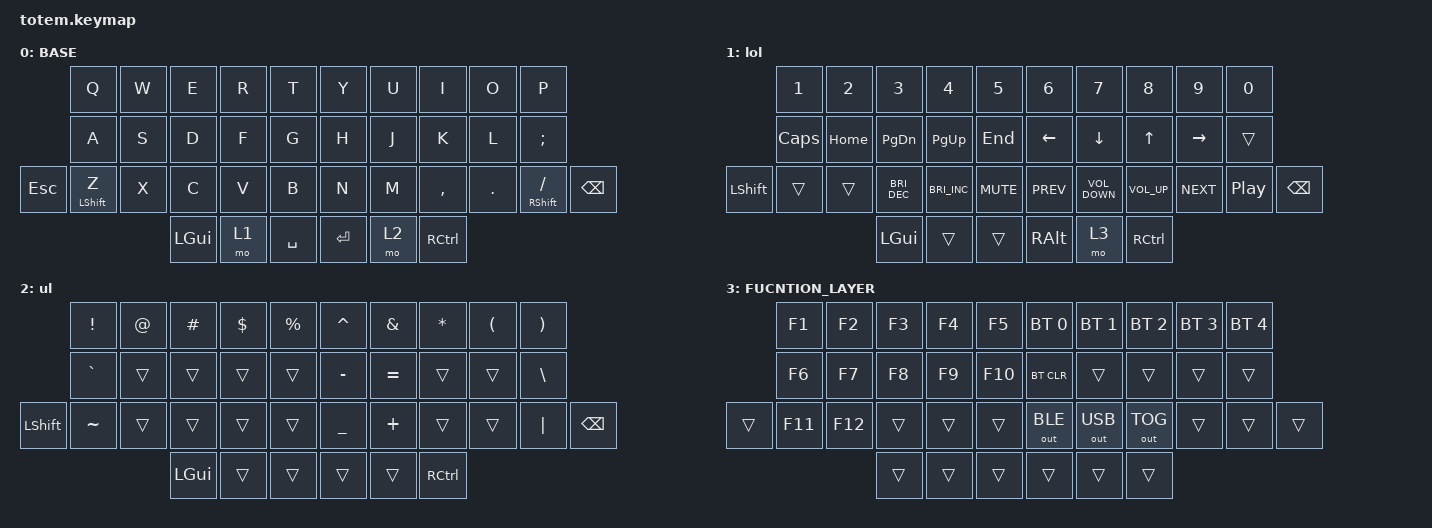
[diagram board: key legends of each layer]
//
//                                                        ▀▀▀▀▀     ▀▀▀▀▀          ▀▀█▀▀
//                                                        ▄▀▀▀▄  ▄  ▄▀▀▀▄  ▄  ▄▀▀▀▄  █  ▄▀▀▀▄
//                                                        █   █  █  █   █  █  █   █  █  █   █
//                                                         ▀▀▀   █   ▀▀▀   █   ▀▀▀   ▀   ▀▀▀
//                                                               █      ▄▄▄█▄▄▄    █   █  
//                                                               ▀      █  █  █     █▄█
//                                                             ▀▀▀▀▀    █  █  █      ▀
//                                                                      ▀  ▀  ▀
//
// ▄▄▄▄▄▄▄▄▄▄▄▄▄▄▄▄▄▄▄▄▄▄▄▄▄▄▄▄▄▄▄▄▄▄▄▄▄▄▄▄▄▄▄▄▄▄▄▄▄▄▄▄▄▄▄▄▄▄▄▄▄▄▄▄▄▄▄▄▄▄▄▄▄▄▄▄▄▄▄▄▄▄▄▄▄▄▄▄▄▄▄▄▄▄▄▄▄▄▄▄▄▄▄▄▄▄▄▄▄▄▄▄▄▄▄▄▄▄▄▄▄▄▄▄▄▄▄▄▄▄▄▄▄▄▄▄▄▄▄▄▄▄▄▄▄▄▄▄▄

#include <behaviors.dtsi>
#include <dt-bindings/zmk/bt.h>
#include <dt-bindings/zmk/keys.h>
#include <dt-bindings/zmk/outputs.h>

#define BASE 0
#define NAV  1
#define SYM  2
#define ADJ  3

/ {
    combos {
        compatible = "zmk,combos";

        left_parenthesis {
            bindings = <&kp LEFT_PARENTHESIS>;
            key-positions = <3 4>;
        };

        right_parenthesis {
            bindings = <&kp RIGHT_PARENTHESIS>;
            key-positions = <5 6>;
        };

        left_brace {
            bindings = <&kp LEFT_BRACE>;
            key-positions = <13 14>;
        };

        right_brace {
            bindings = <&kp RIGHT_BRACE>;
            key-positions = <15 16>;
        };

        left_bracket {
            bindings = <&kp LEFT_BRACKET>;
            key-positions = <24 25>;
        };

        right_bracket {
            bindings = <&kp RIGHT_BRACKET>;
            key-positions = <26 27>;
        };

        quotes {
            bindings = <&kp SQT>;
            key-positions = <18 19>;
        };

        tab {
            bindings = <&kp TAB>;
            key-positions = <11 12>;
        };
    };

    keymap {
        compatible = "zmk,keymap";

        // ▄▄▄▄▄▄▄▄▄▄▄▄▄▄▄▄▄▄▄▄▄▄▄▄▄▄▄▄▄▄▄▄▄▄▄▄▄▄▄▄▄▄▄▄▄▄▄▄▄▄▄▄▄▄▄▄▄▄▄▄▄▄▄▄▄▄▄▄▄▄▄▄▄▄▄▄▄▄▄▄▄▄▄▄▄▄▄▄▄▄▄▄▄▄▄▄▄▄▄▄▄▄▄▄▄▄▄▄▄▄▄▄▄▄▄▄▄▄▄▄▄▄▄▄▄▄▄▄▄▄▄▄▄▄▄▄▄▄▄▄▄▄▄▄▄▄▄▄▄

        base_layer {
            // ┏━━━━━━━━━━━━━━━━━━━━━━━━━━━━━━━━━━━━━━━┓

            label = "BASE";

            // ┗━━━━━━━━━━━━━━━━━━━━━━━━━━━━━━━━━━━━━━━┛
            //             ┏━━━━━━━━━━━┳━━━━━━━━━━━┳━━━━━━━━━━━┳━━━━━━━━━━━┳━━━━━━━━━━━┓   ┏━━━━━━━━━━━┳━━━━━━━━━━━┳━━━━━━━━━━━┳━━━━━━━━━━━┳━━━━━━━━━━━┓
            //             ┃     Q     ┃     W     ┃     F     ┃     P     ┃     G     ┃   ┃     J     ┃     L     ┃     U     ┃     Y     ┃     ;     ┃
            //             ┣━━━━━━━━━━━╋━━━━━━━━━━━╋━━━━━━━━━━━╋━━━━━━━━━━━╋━━━━━━━━━━━┫   ┣━━━━━━━━━━━╋━━━━━━━━━━━╋━━━━━━━━━━━╋━━━━━━━━━━━╋━━━━━━━━━━━┫
            //             ┃     A     ┃     R     ┃     S     ┃     T     ┃     D     ┃   ┃     H     ┃     N     ┃     E     ┃     I     ┃     O     ┃
            // ┏━━━━━━━━━━━╋━━━━━━━━━━━╋━━━━━━━━━━━╋━━━━━━━━━━━╋━━━━━━━━━━━╋━━━━━━━━━━━┫   ┣━━━━━━━━━━━╋━━━━━━━━━━━╋━━━━━━━━━━━╋━━━━━━━━━━━╋━━━━━━━━━━━╋━━━━━━━━━━━┓
            // ┃           ┃     Z     ┃     X     ┃     C     ┃     V     ┃     B     ┃   ┃     K     ┃     M     ┃     ,     ┃     .     ┃     /     ┃           ┃
            // ┗━━━━━━━━━━━┻━━━━━━━━━━━┻━━━━━━━━━━━╋━━━━━━━━━━━╋━━━━━━━━━━━╋━━━━━━━━━━━┫   ┣━━━━━━━━━━━╋━━━━━━━━━━━╋━━━━━━━━━━━╋━━━━━━━━━━━┻━━━━━━━━━━━┻━━━━━━━━━━━┛
            //                                     ┃           ┃    TAB    ┃    SPC    ┃   ┃   ENTER   ┃   BSPC    ┃           ┃
            //                                     ┗━━━━━━━━━━━┻━━━━━━━━━━━┻━━━━━━━━━━━┛   ┗━━━━━━━━━━━┻━━━━━━━━━━━┻━━━━━━━━━━━┛

            bindings = <
            &kp Q             &kp W  &kp E         &kp R  &kp T        &kp Y      &kp U  &kp I              &kp O    &kp P
            &kp A             &kp S  &kp D         &kp F  &kp G        &kp H      &kp J  &kp K              &kp L    &kp SEMICOLON
&kp ESCAPE  &mt LEFT_SHIFT Z  &kp X  &kp C         &kp V  &kp B        &kp N      &kp M  &kp COMMA          &kp DOT  &mt RIGHT_SHIFT SLASH  &kp BACKSPACE
                                     &kp LEFT_GUI  &mo 1  &kp SPACE    &kp ENTER  &mo 2  &kp RIGHT_CONTROL
            >;
        };

        // ▄▄▄▄▄▄▄▄▄▄▄▄▄▄▄▄▄▄▄▄▄▄▄▄▄▄▄▄▄▄▄▄▄▄▄▄▄▄▄▄▄▄▄▄▄▄▄▄▄▄▄▄▄▄▄▄▄▄▄▄▄▄▄▄▄▄▄▄▄▄▄▄▄▄▄▄▄▄▄▄▄▄▄▄▄▄▄▄▄▄▄▄▄▄▄▄▄▄▄▄▄▄▄▄▄▄▄▄▄▄▄▄▄▄▄▄▄▄▄▄▄▄▄▄▄▄▄▄▄▄▄▄▄▄▄▄▄▄▄▄▄▄▄▄▄▄▄▄▄
        // ▄▄▄▄▄▄▄▄▄▄▄▄▄▄▄▄▄▄▄▄▄▄▄▄▄▄▄▄▄▄▄▄▄▄▄▄▄▄▄▄▄▄▄▄▄▄▄▄▄▄▄▄▄▄▄▄▄▄▄▄▄▄▄▄▄▄▄▄▄▄▄▄▄▄▄▄▄▄▄▄▄▄▄▄▄▄▄▄▄▄▄▄▄▄▄▄▄▄▄▄▄▄▄▄▄▄▄▄▄▄▄▄▄▄▄▄▄▄▄▄▄▄▄▄▄▄▄▄▄▄▄▄▄▄▄▄▄▄▄▄▄▄▄▄▄▄▄▄▄

        lower_layer {
            // ┏━━━━━━━━━━━━━━━━━━━━━━━━━━━━━━━━━━━━━━━┓

            label = "lol";

            // ┗━━━━━━━━━━━━━━━━━━━━━━━━━━━━━━━━━━━━━━━┛
            //             ┏━━━━━━━━━━━┳━━━━━━━━━━━┳━━━━━━━━━━━┳━━━━━━━━━━━┳━━━━━━━━━━━┓   ┏━━━━━━━━━━━┳━━━━━━━━━━━┳━━━━━━━━━━━┳━━━━━━━━━━━┳━━━━━━━━━━━┓
            //             ┃     !     ┃     @     ┃     #     ┃     $     ┃     %     ┃   ┃     ˆ     ┃     &     ┃     Ü     ┃     '     ┃     "     ┃
            //             ┣━━━━━━━━━━━╋━━━━━━━━━━━╋━━━━━━━━━━━╋━━━━━━━━━━━╋━━━━━━━━━━━┫   ┣━━━━━━━━━━━╋━━━━━━━━━━━╋━━━━━━━━━━━╋━━━━━━━━━━━╋━━━━━━━━━━━┫
            //             ┃     Ä     ┃           ┃    SZ     ┃           ┃           ┃   ┃   MUTE    ┃   YEN     ┃   EURO    ┃  POUND    ┃     Ö     ┃
            // ┏━━━━━━━━━━━╋━━━━━━━━━━━╋━━━━━━━━━━━╋━━━━━━━━━━━╋━━━━━━━━━━━╋━━━━━━━━━━━┫   ┣━━━━━━━━━━━╋━━━━━━━━━━━╋━━━━━━━━━━━╋━━━━━━━━━━━╋━━━━━━━━━━━╋━━━━━━━━━━━┓
            // ┃           ┃  EMAIL1   ┃  EMAIL2   ┃           ┃           ┃           ┃   ┃   VOL-    ┃   VOL+    ┃   LAST    ┃   NEXT    ┃     \     ┃           ┃
            // ┗━━━━━━━━━━━┻━━━━━━━━━━━┻━━━━━━━━━━━╋━━━━━━━━━━━╋━━━━━━━━━━━╋━━━━━━━━━━━┫   ┣━━━━━━━━━━━╋━━━━━━━━━━━╋━━━━━━━━━━━╋━━━━━━━━━━━┻━━━━━━━━━━━┻━━━━━━━━━━━┛
            //                                     ┃           ┃    GIF    ┃    ADJ    ┃   ┃           ┃           ┃           ┃
            //                                     ┗━━━━━━━━━━━┻━━━━━━━━━━━┻━━━━━━━━━━━┛   ┗━━━━━━━━━━━┻━━━━━━━━━━━┻━━━━━━━━━━━┛

            bindings = <
                &kp NUMBER_1  &kp NUMBER_2  &kp NUMBER_3          &kp NUMBER_4          &kp NUMBER_5    &kp NUMBER_6    &kp NUMBER_7       &kp NUMBER_8       &kp NUMBER_9     &kp NUMBER_0
                &kp CAPSLOCK  &kp HOME      &kp PAGE_DOWN         &kp PAGE_UP           &kp END         &kp LEFT_ARROW  &kp DOWN_ARROW     &kp UP_ARROW       &kp RIGHT_ARROW  &trans
&kp LEFT_SHIFT  &trans        &trans        &kp C_BRIGHTNESS_DEC  &kp C_BRIGHTNESS_INC  &kp C_MUTE      &kp C_PREV      &kp C_VOLUME_DOWN  &kp C_VOLUME_UP    &kp C_NEXT       &kp C_PP      &kp BACKSPACE
                                            &kp LEFT_GUI          &trans                &trans          &kp RIGHT_ALT   &mo 3              &kp RIGHT_CONTROL
            >;
        };

        // ▄▄▄▄▄▄▄▄▄▄▄▄▄▄▄▄▄▄▄▄▄▄▄▄▄▄▄▄▄▄▄▄▄▄▄▄▄▄▄▄▄▄▄▄▄▄▄▄▄▄▄▄▄▄▄▄▄▄▄▄▄▄▄▄▄▄▄▄▄▄▄▄▄▄▄▄▄▄▄▄▄▄▄▄▄▄▄▄▄▄▄▄▄▄▄▄▄▄▄▄▄▄▄▄▄▄▄▄▄▄▄▄▄▄▄▄▄▄▄▄▄▄▄▄▄▄▄▄▄▄▄▄▄▄▄▄▄▄▄▄▄▄▄▄▄▄▄▄▄

        upper_layer {
            // ┏━━━━━━━━━━━━━━━━━━━━━━━━━━━━━━━━━━━━━━━┓

            label = "ul";

            // ┗━━━━━━━━━━━━━━━━━━━━━━━━━━━━━━━━━━━━━━━┛
            //             ┏━━━━━━━━━━━┳━━━━━━━━━━━┳━━━━━━━━━━━┳━━━━━━━━━━━┳━━━━━━━━━━━┓   ┏━━━━━━━━━━━┳━━━━━━━━━━━┳━━━━━━━━━━━┳━━━━━━━━━━━┳━━━━━━━━━━━┓
            //             ┃   RESET   ┃ BT CLEAR  ┃  OUT TOG  ┃           ┃           ┃   ┃           ┃    F7     ┃    F8     ┃    F9     ┃    F12    ┃
            //             ┣━━━━━━━━━━━╋━━━━━━━━━━━╋━━━━━━━━━━━╋━━━━━━━━━━━╋━━━━━━━━━━━┫   ┣━━━━━━━━━━━╋━━━━━━━━━━━╋━━━━━━━━━━━╋━━━━━━━━━━━╋━━━━━━━━━━━┫
            //             ┃ BOOTLOAD  ┃ BT NEXT   ┃           ┃           ┃           ┃   ┃           ┃    F4     ┃    F5     ┃    F6     ┃    F11    ┃
            // ┏━━━━━━━━━━━╋━━━━━━━━━━━╋━━━━━━━━━━━╋━━━━━━━━━━━╋━━━━━━━━━━━╋━━━━━━━━━━━┫   ┣━━━━━━━━━━━╋━━━━━━━━━━━╋━━━━━━━━━━━╋━━━━━━━━━━━╋━━━━━━━━━━━╋━━━━━━━━━━━┓
            // ┃           ┃           ┃ BT PREV   ┃           ┃           ┃           ┃   ┃           ┃    F1     ┃    F2     ┃    F3     ┃    F10    ┃           ┃
            // ┗━━━━━━━━━━━┻━━━━━━━━━━━┻━━━━━━━━━━━╋━━━━━━━━━━━╋━━━━━━━━━━━╋━━━━━━━━━━━┫   ┣━━━━━━━━━━━╋━━━━━━━━━━━╋━━━━━━━━━━━╋━━━━━━━━━━━┻━━━━━━━━━━━┻━━━━━━━━━━━┛
            //                                     ┃           ┃           ┃           ┃   ┃           ┃           ┃           ┃
            //                                     ┗━━━━━━━━━━━┻━━━━━━━━━━━┻━━━━━━━━━━━┛   ┗━━━━━━━━━━━┻━━━━━━━━━━━┻━━━━━━━━━━━┛

            bindings = <
                &kp EXCLAMATION  &kp AT_SIGN  &kp HASH      &kp DOLLAR  &kp PERCENT    &kp CARET       &kp AMPERSAND  &kp ASTERISK       &kp LEFT_PARENTHESIS  &kp RIGHT_PARENTHESIS
                &kp GRAVE        &trans       &trans        &trans      &trans         &kp MINUS       &kp EQUAL      &trans             &trans                &kp BACKSLASH
&kp LEFT_SHIFT  &kp TILDE        &trans       &trans        &trans      &trans         &kp UNDERSCORE  &kp PLUS       &trans             &trans                &kp PIPE               &kp BACKSPACE
                                              &kp LEFT_GUI  &trans      &trans         &trans          &trans         &kp RIGHT_CONTROL
            >;
        };

        FUCNTION_LAYER {
            bindings = <
        &kp F1   &kp F2   &kp F3  &kp F4  &kp F5     &bt BT_SEL 0  &bt BT_SEL 1  &bt BT_SEL 2  &bt BT_SEL 3  &bt BT_SEL 4
        &kp F6   &kp F7   &kp F8  &kp F9  &kp F10    &bt BT_CLR    &trans        &trans        &trans        &trans
&trans  &kp F11  &kp F12  &trans  &trans  &trans     &out OUT_BLE  &out OUT_USB  &out OUT_TOG  &trans        &trans        &trans
                          &trans  &trans  &trans     &trans        &trans        &trans
            >;
        };
    };
};

&kscan0 { wakeup-source; };
